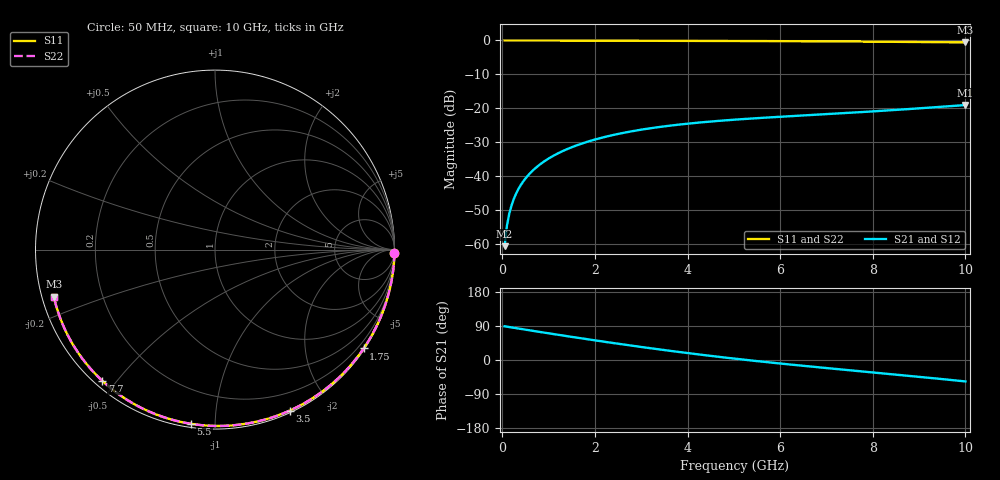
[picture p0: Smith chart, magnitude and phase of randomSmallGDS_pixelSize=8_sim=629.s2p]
! freq	dB(S11)	phase(S11)	dB(S12)	phase(S12)
!  dB(S21)	phase(S21)	dB(S22)	phase(S22)
!S-par simulation data
#  GHz  S  DB  R 50
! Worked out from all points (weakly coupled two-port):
!   200 points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, 50 MHz to 10 GHz, reference 50 ohm
!   highest |S21| = -19.03 dB at 10 GHz (marker M1); lowest = -60.6 dB at 50 MHz (marker M2)
!   lowest |S11| = -0.6 dB at 10 GHz (marker M3), VSWR 30.10, Z = 1.7 - j7.12 ohm
!   |S11| at or under -10 dB: nowhere
!   |S22| runs from -0.6 to 0.0 dB; largest |S21 - S12| = 0
!   S11 on the Smith chart (normalised r, x): 50 MHz: open; 1.75 GHz: 0.03, -3.31; 3.5 GHz: 0.02, -1.57; 5.5 GHz: 0.02, -0.87; 7.7 GHz: 0.02, -0.46; 10 GHz: 0.03, -0.14
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0.05  -0.00 -1.0  -60.60 89.0  -60.60 89.0  -0.00 -1.0
0.1  -0.00 -2.0  -54.59 88.0  -54.59 88.0  -0.00 -2.0
0.15  -0.00 -2.9  -51.07 87.0  -51.07 87.0  -0.00 -2.9
0.2  -0.00 -3.9  -48.57 86.0  -48.57 86.0  -0.00 -3.9
0.25  -0.00 -4.9  -46.64 85.0  -46.64 85.0  -0.00 -4.9
0.35  -0.01 -6.9  -43.74 83.0  -43.74 83.0  -0.01 -6.8
0.5  -0.01 -9.8  -40.67 80.0  -40.67 80.0  -0.01 -9.8
0.7  -0.02 -13.6  -37.80 76.1  -37.80 76.1  -0.02 -13.6
1  -0.02 -19.4  -34.79 70.4  -34.79 70.4  -0.02 -19.4
1.35  -0.04 -26.1  -32.31 63.8  -32.31 63.8  -0.04 -26.1
1.75  -0.05 -33.6  -30.23 56.4  -30.23 56.4  -0.05 -33.6
2.6  -0.07 -49.2  -27.26 41.2  -27.26 41.2  -0.07 -49.2
3.4  -0.09 -63.4  -25.48 27.8  -25.48 27.8  -0.09 -63.4
3.5  -0.10 -65.1  -25.30 26.1  -25.30 26.1  -0.10 -65.1
4.25  -0.12 -77.8  -24.19 14.5  -24.19 14.5  -0.12 -77.8
5.05  -0.16 -90.8  -23.30 3.1  -23.30 3.1  -0.15 -90.7
5.5  -0.18 -97.9  -22.89 -2.9  -22.89 -2.9  -0.18 -97.8
6.7  -0.24 -116.0  -21.94 -17.7  -21.94 -17.7  -0.24 -116.0
7.7  -0.32 -130.6  -21.15 -29.2  -21.15 -29.2  -0.32 -130.5
8.35  -0.38 -139.9  -20.60 -36.6  -20.60 -36.6  -0.38 -139.9
9.2  -0.47 -152.1  -19.81 -46.7  -19.81 -46.7  -0.47 -152.0
10  -0.58 -163.8  -19.03 -56.6  -19.03 -56.6  -0.58 -163.7
